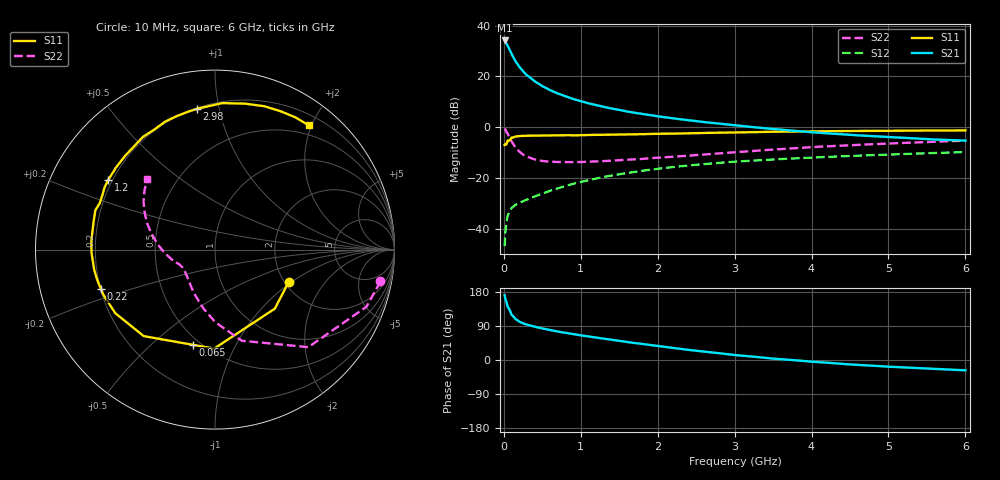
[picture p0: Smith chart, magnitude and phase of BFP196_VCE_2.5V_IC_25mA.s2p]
! Infineon Technologies  Discrete & RF Semiconductors
! BFP196
! VCE = 2.5 V,  IC =  25mA
! Common Emitter S-Parameters:  Jan 2016
# GHz  S  MA  R  50
!  f  S11  S21  S12  S22
! GHz  MAG  ANG  MAG  ANG  MAG  ANG  MAG  ANG
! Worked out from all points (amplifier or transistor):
!   210 points, 10 MHz to 6 GHz, reference 50 ohm
!   highest |S21| = 34.1 dB at 10 MHz (marker M1)
!   |S21| within 3 dB of that: start of sweep to 65.06 MHz
!   unconditionally stable (mu >= 1): 588.1 MHz to 3.488 GHz; 3.524 GHz to 4.246 GHz
!   at 185 MHz: K = 0.54, MSG = 27.3 dB, |S12| = -30.0 dB
!   at 1.52 GHz: K = 1.10, MAG = 10.6 dB, |S12| = -18.4 dB
!   at 6 GHz: K = 0.97, MSG = 2.2 dB, |S12| = -9.8 dB
!   S11 on the Smith chart (normalised r, x): 10 MHz: 2.10, -0.95; 65 MHz: 0.46, -0.69; 220 MHz: 0.20, -0.16; 1.2 GHz: 0.18, +0.29; 2.98 GHz: 0.21, +0.86; 6 GHz: 0.35, +1.96
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0.01  0.4483 -23.7  50.84 171.2  0.0046 82.2  0.939 -10.9
0.02  0.4684 -44.6  48.48 161.5  0.0087 75.1  0.9018 -20.7
0.05  0.5515 -90.5  40.26 140.3  0.0184 58.2  0.7521 -46.3
0.065  0.5446 -103.0  36.01 135.6  0.0205 53.7  0.6716 -52.5
0.1  0.6245 -129.5  27.49 119.4  0.0259 46.1  0.5294 -73.6
0.15  0.659 -147.5  19.92 108.2  0.0298 43.0  0.4037 -89.9
0.2  0.6708 -158.0  15.49 101.4  0.0323 42.7  0.3339 -101.2
0.22  0.6722 -160.9  14.29 99.7  0.0335 43.2  0.3152 -104.5
0.26  0.6781 -166.3  12.13 95.9  0.0357 44.4  0.2842 -111.5
0.3  0.6823 -170.5  10.55 93.1  0.0378 46.1  0.265 -117.0
0.4  0.6883 -178.6  8.007 87.7  0.0436 49.3  0.2333 -127.6
0.5  0.6908 175.8  6.428 83.2  0.0495 51.8  0.2176 -135.0
0.7  0.6952 166.0  4.622 75.0  0.0629 54.9  0.2077 -144.4
1.02  0.6986 153.3  3.19 64.5  0.0855 55.5  0.2079 -152.8
1.2  0.7105 146.9  2.717 59.0  0.0981 55.0  0.2135 -156.4
1.6  0.7233 134.2  2.042 47.5  0.1261 51.4  0.2306 -162.6
2.02  0.7456 122.0  1.626 36.5  0.154 46.6  0.2526 -169.1
2.98  0.7903 97.4  1.098 13.6  0.2096 34.2  0.3209 174.7
3.1  0.7947 94.9  1.055 11.4  0.215 32.5  0.3303 172.6
4.1  0.832 76.9  0.78 -5.7  0.2573 20.5  0.4147 157.1
5.1  0.8544 63.3  0.631 -18.5  0.2942 9.5  0.4859 144.8
6  0.8669 53.0  0.546 -27.3  0.3253 -0.7  0.5447 134.0
